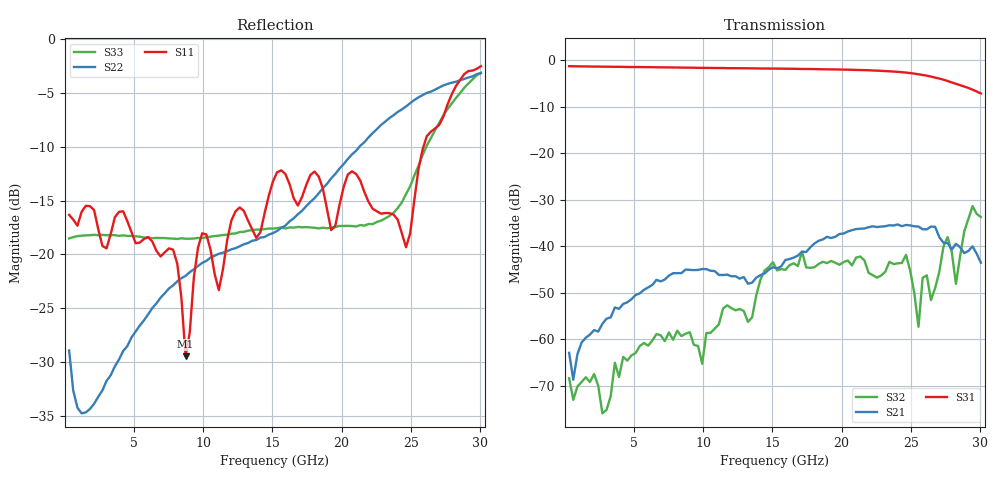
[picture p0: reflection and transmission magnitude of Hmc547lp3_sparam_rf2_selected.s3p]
!Hittite Microwave Corporation
!20 Alpha Rd
!Chelmsford, MA 01824
!Tel: 978-250-3343
!Fax: 978-250-3373
!Device: HMC547LP3, DC - 20 GHz GaAs MMIC SPDT Non-Reflective Switch in leadless QFN SMT package
!Misc: Port1=RFC, Port2= RF1, Port3=RF2, RF2 ON, Data taken on a part mounted on probable matrix board,Bias: -5VDC
# GHZ S DB R 50.0
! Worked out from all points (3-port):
!   100 points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, 340 MHz to 30.04 GHz, reference 50 ohm
!   strongest paths, dB at 340 MHz, 7.84 GHz, 15.34 GHz, 22.84 GHz, 30.04 GHz:
!     S31: -1.3, -1.6, -1.8, -2.3, -7.2
!     S21: -62.9, -45.8, -44.8, -35.8, -43.6
!     S32: -68.4, -60.1, -45.2, -46.3, -33.8
!   lowest |S11| = -29.5 dB at 8.74 GHz (marker M1), VSWR 1.07, Z = 48.6 - j3.02 ohm
!   |S11| at or under -10 dB: start of sweep to 25.89 GHz
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0.34  -16.32 8.5  -67.55 -158.5  -1.32 -5.8
      -62.94 24.0  -28.93 94.2  -74.71 71.0
      -1.32 -5.9  -68.39 75.6  -18.51 -4.5
0.64  -16.77 -3.8  -61.03 32.2  -1.33 -10.5
      -68.71 55.1  -32.69 72.6  -64.01 11.5
      -1.34 -10.6  -73.04 -97.8  -18.39 -8.0
2.74  -19.21 -44.5  -56.49 62.4  -1.43 -43.5
      -56.70 63.1  -32.65 -5.6  -74.55 19.4
      -1.43 -43.6  -75.94 14.1  -18.18 -36.8
8.74  -29.48 -112.7  -45.64 19.6  -1.63 -138.3
      -45.04 19.1  -22.00 -104.8  -57.42 -48.5
      -1.64 -138.4  -58.83 -38.1  -18.54 -127.3
15.34  -12.36 -162.5  -44.39 -1.7  -1.85 114.9
       -44.79 -2.1  -17.82 142.1  -44.96 65.8
       -1.84 115.1  -45.22 69.5  -17.55 130.0
21.94  -15.12 -6.5  -35.88 -71.4  -2.20 1.6
       -35.94 -71.5  -9.10 11.1  -45.41 -87.1
       -2.20 1.6  -45.74 -89.5  -17.17 1.5
24.64  -19.33 -13.8  -35.76 -110.7  -2.69 -49.4
       -35.45 -111.4  -6.24 -27.7  -41.99 112.2
       -2.70 -49.4  -41.88 110.2  -14.39 -5.5
25.54  -12.06 11.5  -35.62 -125.9  -3.07 -67.3
       -35.80 -124.6  -5.39 -39.5  -58.02 -31.1
       -3.07 -67.2  -57.34 -1.5  -11.76 -8.6
25.84  -10.22 3.9  -36.37 -129.2  -3.22 -73.1
       -36.37 -129.6  -5.18 -43.3  -46.44 -33.9
       -3.21 -73.0  -46.82 -27.9  -10.75 -10.7
30.04  -2.49 -68.8  -43.86 -166.9  -7.20 -151.4
       -43.58 -159.2  -3.12 -87.5  -34.12 -24.2
       -7.19 -151.2  -33.75 -25.3  -3.13 -66.4
